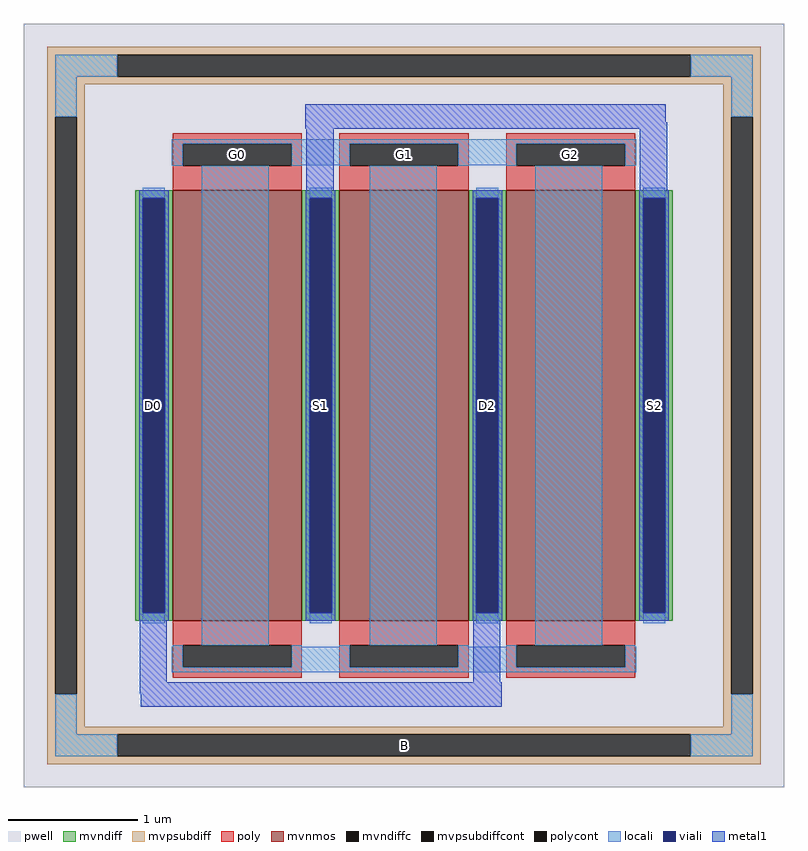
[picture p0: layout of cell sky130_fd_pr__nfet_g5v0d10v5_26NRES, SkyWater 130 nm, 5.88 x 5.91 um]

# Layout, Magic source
magic
tech sky130A
magscale 1 2
<< pwell >>
rect -588 -591 588 591
<< mvnmos >>
rect -358 -333 -158 333
rect -100 -333 100 333
rect 158 -333 358 333
<< mvndiff >>
rect -416 321 -358 333
rect -416 -321 -404 321
rect -370 -321 -358 321
rect -416 -333 -358 -321
rect -158 321 -100 333
rect -158 -321 -146 321
rect -112 -321 -100 321
rect -158 -333 -100 -321
rect 100 321 158 333
rect 100 -321 112 321
rect 146 -321 158 321
rect 100 -333 158 -321
rect 358 321 416 333
rect 358 -321 370 321
rect 404 -321 416 321
rect 358 -333 416 -321
<< mvndiffc >>
rect -404 -321 -370 321
rect -146 -321 -112 321
rect 112 -321 146 321
rect 370 -321 404 321
<< mvpsubdiff >>
rect -552 543 552 555
rect -552 509 -444 543
rect 444 509 552 543
rect -552 497 552 509
rect -552 447 -494 497
rect -552 -447 -540 447
rect -506 -447 -494 447
rect 494 447 552 497
rect -552 -497 -494 -447
rect 494 -447 506 447
rect 540 -447 552 447
rect 494 -497 552 -447
rect -552 -509 552 -497
rect -552 -543 -444 -509
rect 444 -543 552 -509
rect -552 -555 552 -543
<< mvpsubdiffcont >>
rect -444 509 444 543
rect -540 -447 -506 447
rect 506 -447 540 447
rect -444 -543 444 -509
<< poly >>
rect -358 405 -158 421
rect -358 371 -342 405
rect -174 371 -158 405
rect -358 333 -158 371
rect -100 405 100 421
rect -100 371 -84 405
rect 84 371 100 405
rect -100 333 100 371
rect 158 405 358 421
rect 158 371 174 405
rect 342 371 358 405
rect 158 333 358 371
rect -358 -371 -158 -333
rect -358 -405 -342 -371
rect -174 -405 -158 -371
rect -358 -421 -158 -405
rect -100 -371 100 -333
rect -100 -405 -84 -371
rect 84 -405 100 -371
rect -100 -421 100 -405
rect 158 -371 358 -333
rect 158 -405 174 -371
rect 342 -405 358 -371
rect 158 -421 358 -405
<< polycont >>
rect -342 371 -174 405
rect -84 371 84 405
rect 174 371 342 405
rect -342 -405 -174 -371
rect -84 -405 84 -371
rect 174 -405 342 -371
<< locali >>
rect -540 509 -444 543
rect 444 509 540 543
rect -540 447 -506 509
rect 506 447 540 509
rect -359 405 359 412
rect -359 372 -342 405
rect -358 371 -342 372
rect -174 372 -84 405
rect -174 371 -158 372
rect -100 371 -84 372
rect 84 372 174 405
rect 84 371 100 372
rect 158 371 174 372
rect 342 372 359 405
rect 342 371 358 372
rect -404 321 -370 337
rect -404 -337 -370 -321
rect -313 -371 -209 371
rect -146 321 -112 337
rect -146 -337 -112 -321
rect -53 -371 51 371
rect 112 321 146 337
rect 112 -337 146 -321
rect 203 -371 307 371
rect 370 321 404 337
rect 370 -337 404 -321
rect -358 -373 -342 -371
rect -359 -405 -342 -373
rect -174 -373 -158 -371
rect -100 -373 -84 -371
rect -174 -405 -84 -373
rect 84 -373 100 -371
rect 158 -373 174 -371
rect 84 -405 174 -373
rect 342 -373 358 -371
rect 342 -405 359 -373
rect -359 -413 359 -405
rect -540 -509 -506 -447
rect 506 -509 540 -447
rect -540 -543 -444 -509
rect 444 -543 540 -509
<< viali >>
rect -404 -321 -370 321
rect -146 -321 -112 321
rect 112 -321 146 321
rect 370 -321 404 321
<< metal1 >>
rect -153 438 405 466
rect -153 428 407 438
rect -151 333 -109 428
rect 365 333 407 428
rect -410 321 -364 333
rect -410 -321 -404 321
rect -370 -321 -364 321
rect -410 -333 -364 -321
rect -152 321 -106 333
rect -152 -321 -146 321
rect -112 -321 -106 321
rect -152 -333 -106 -321
rect 106 321 152 333
rect 106 -321 112 321
rect 146 -321 152 321
rect 106 -333 152 -321
rect 364 321 410 333
rect 364 -321 370 321
rect 404 -321 410 321
rect 364 -333 410 -321
rect -409 -428 -367 -333
rect 107 -428 149 -333
rect -409 -446 151 -428
rect -407 -466 151 -446
<< labels >>
rlabel mvpsubdiffcont 0 -526 0 -526 0 B
port 1 nsew
rlabel mvndiffc -387 0 -387 0 0 D0
port 2 nsew
rlabel polycont -258 388 -258 388 0 G0
port 3 nsew
rlabel mvndiffc -129 0 -129 0 0 S1
port 4 nsew
rlabel polycont 0 388 0 388 0 G1
port 5 nsew
rlabel mvndiffc 129 0 129 0 0 D2
port 6 nsew
rlabel mvndiffc 387 0 387 0 0 S2
port 7 nsew
rlabel polycont 258 388 258 388 0 G2
port 8 nsew
<< properties >>
string FIXED_BBOX -523 -526 523 526
string gencell sky130_fd_pr__nfet_g5v0d10v5
string library sky130
string parameters w 3.33 l 1 m 1 nf 3 diffcov 100 polycov 100 guard 1 glc 1 grc 1 gtc 1 gbc 1 tbcov 100 rlcov 100 topc 1 botc 1 poverlap 0 doverlap 1 lmin 0.50 wmin 0.42 class mosfet compatible {sky130_fd_pr__nfet_01v8 sky130_fd_pr__nfet_01v8_lvt  sky130_fd_bs_flash__special_sonosfet_star  sky130_fd_pr__nfet_g5v0d10v5 sky130_fd_pr__nfet_05v0_nvt  sky130_fd_pr__nfet_03v3_nvt} full_metal 1 conn_gates 0 viasrc 100 viadrn 100 viagate 100 viagb 0 viagr 0 viagl 0 viagt 0 doports 1
<< end >>
